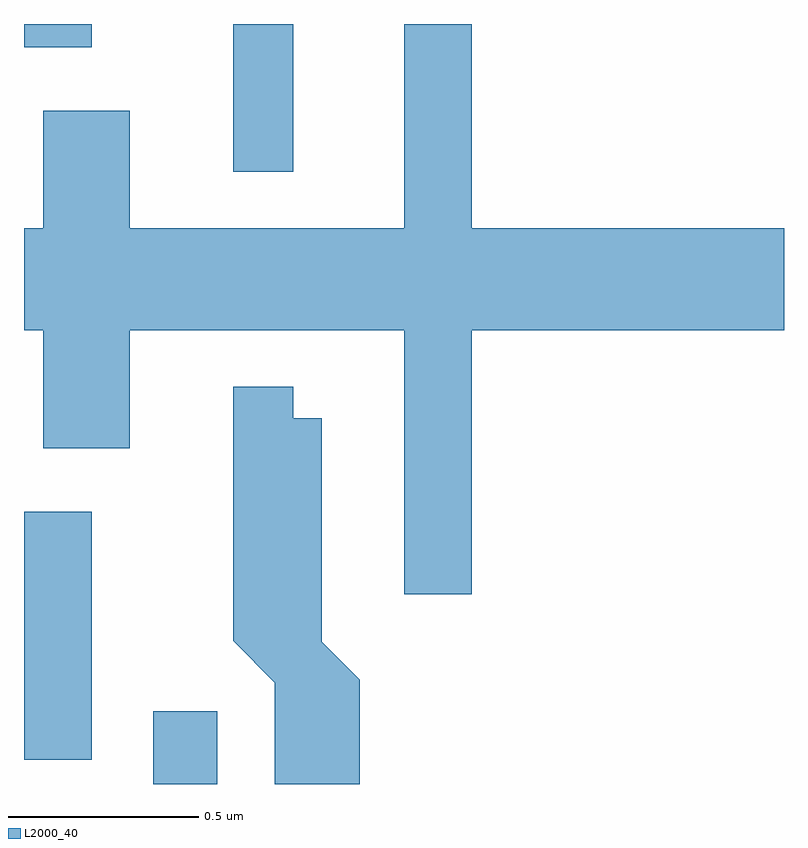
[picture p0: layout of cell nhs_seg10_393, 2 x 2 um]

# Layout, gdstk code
import gdstk
lib = gdstk.Library(unit=1e-6, precision=1e-09)
def R(c, l, rs):  # rectangles x0, y0, x1, y1
    for r in rs: c.add(gdstk.rectangle(r[:2], r[2:], *l))
def P(c, l, *ps):  # polygons
    for p in ps: c.add(gdstk.Polygon(p, *l))
L2000_40 = (2000, 40)

nhs_seg10_393 = lib.new_cell('nhs_seg10_393')
R(nhs_seg10_393, L2000_40, [(187.951,2201.522,188.119,2201.713), (187.611,2201.586,187.789,2202.239), (188.161,2203.133,188.319,2203.522), (187.611,2203.461,187.789,2203.522)])
P(nhs_seg10_393, L2000_40, [(188.789,2202.716),(189.611,2202.716),(189.611,2202.984),(188.789,2202.984),(188.789,2203.522),(188.611,2203.522),(188.611,2202.984),(187.889,2202.984),(187.889,2203.294),(187.661,2203.294),(187.661,2202.984),(187.611,2202.984),(187.611,2202.716),(187.661,2202.716),(187.661,2202.406),(187.889,2202.406),(187.889,2202.716),(188.611,2202.716),(188.611,2202.021),(188.789,2202.021)],
  [(188.494,2201.797),(188.394,2201.897),(188.394,2202.484),(188.319,2202.484),(188.319,2202.568),(188.161,2202.568),(188.161,2201.899),(188.271,2201.789),(188.271,2201.522),(188.494,2201.522)])

lib.write_gds('nhs_seg10_393.gds')
